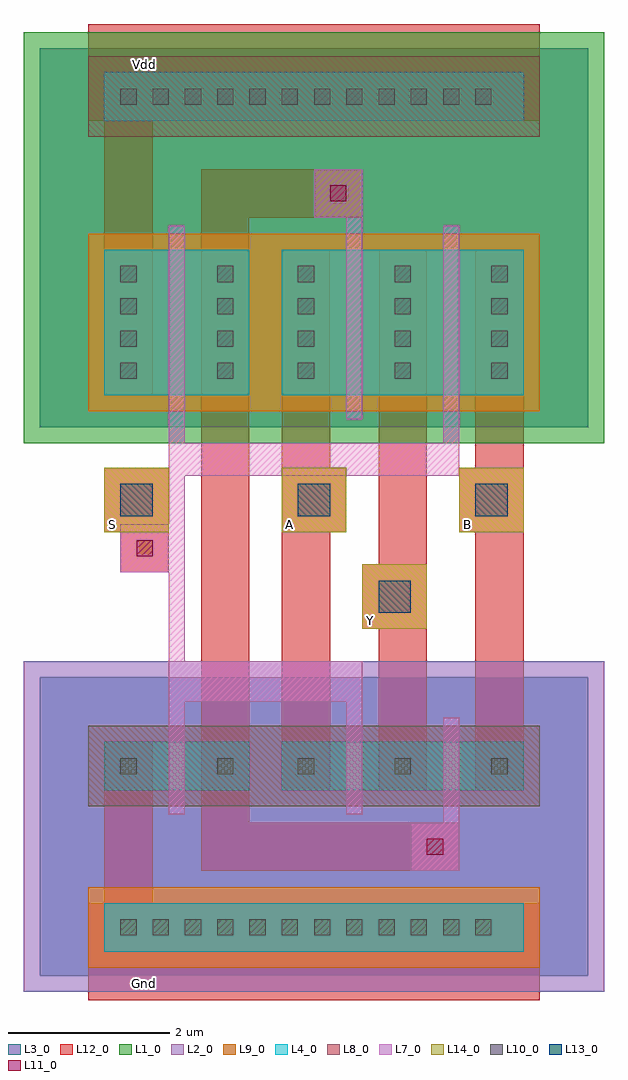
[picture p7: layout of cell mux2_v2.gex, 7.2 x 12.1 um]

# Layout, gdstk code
import gdstk
lib = gdstk.Library(unit=1e-6, precision=1e-09)
def R(c, l, rs):  # rectangles x0, y0, x1, y1
    for r in rs: c.add(gdstk.rectangle(r[:2], r[2:], *l))
def A(c, l, x, y, w, h, nx, ny, dx, dy):  # array of equal rectangles
    R(c, l, [(x+i*dx, y+j*dy, x+i*dx+w, y+j*dy+h) for i in range(nx) for j in range(ny)])
L1_0 = (1, 0)
L2_0 = (2, 0)
L3_0 = (3, 0)
L4_0 = (4, 0)
L7_0 = (7, 0)
L8_0 = (8, 0)
L9_0 = (9, 0)
L10_0 = (10, 0)
L11_0 = (11, 0)
L12_0 = (12, 0)
L13_0 = (13, 0)
L14_0 = (14, 0)

mux2_v2_gex = lib.new_cell('mux2_v2.gex')
R(mux2_v2_gex, L1_0, [(-0.8,6.9,6.4,12)])
R(mux2_v2_gex, L2_0, [(-0.8,0.1,6.4,4.2)])
R(mux2_v2_gex, L3_0, [(-0.6,0.3,6.2,4), (-0.6,7.1,6.2,11.8)])
R(mux2_v2_gex, L4_0, [(0.2,0.6,5.4,1.2), (0.2,2.6,2,3.2), (2.4,2.6,5.4,3.2), (0.2,7.5,2,9.3), (2.4,7.5,5.4,9.3), (0.2,10.9,5.4,11.5)])
R(mux2_v2_gex, L7_0, [(4,1.6,4.6,2.2), (4.4,2.2,4.6,2.4), (1,2.3,1.2,9.6), (3.2,2.3,3.4,3.4), (4.4,2.4,4.6,3.5), (3.2,3.4,3.4,3.7), (1.2,3.7,3.4,4.2), (0.4,5.3,1,5.9), (1.2,6.5,4.6,6.9), (4.4,6.9,4.6,7.3), (3.2,7.2,3.4,9.5), (4.4,7.3,4.6,9.6), (3.2,9.5,3.4,9.7), (2.8,9.7,3.4,10.3)])
R(mux2_v2_gex, L8_0, [(0,2.4,5.6,3.4), (0,10.7,5.6,11.7)])
R(mux2_v2_gex, L9_0, [(0,0.4,5.6,1.4), (0,7.3,5.6,9.5)])
A(mux2_v2_gex, L10_0, 0.4, 0.8, 0.2, 0.2, 12, 2, 0.4, 10.3)
A(mux2_v2_gex, L10_0, 2.6, 2.8, 0.2, 0.2, 3, 2, 1.2, 4.9)
A(mux2_v2_gex, L10_0, 0.4, 7.7, 0.2, 0.2, 1, 4, 0, 0.4)
A(mux2_v2_gex, L10_0, 1.6, 7.7, 0.2, 0.2, 1, 4, 0, 0.4)
A(mux2_v2_gex, L10_0, 2.6, 8.1, 0.2, 0.2, 3, 3, 1.2, 0.4)
R(mux2_v2_gex, L10_0, [(0.4,2.8,0.6,3), (1.6,2.8,1.8,3)])
R(mux2_v2_gex, L11_0, [(4.2,1.8,4.4,2), (0.6,5.5,0.8,5.7), (3,9.9,3.2,10.1)])
A(mux2_v2_gex, L12_0, 2.4, 2.6, 0.6, 6.7, 3, 1, 1.2, 0)
A(mux2_v2_gex, L12_0, 0.2, 5.8, 0.8, 0.8, 3, 1, 2.2, 0)
R(mux2_v2_gex, L12_0, [(0,0,5.6,1.2), (0.2,1.2,0.8,3.2), (1.4,1.6,4,2.2), (4,1.6,4.6,2.2), (1.4,2.2,2,2.6), (1.4,2.6,2,9.3), (3.4,4.6,4.2,5.4), (0.4,5.3,1,5.9), (0.2,7.5,0.8,10.9), (1.4,9.3,2,9.7), (1.4,9.7,2.8,10.3), (2.8,9.7,3.4,10.3), (0,10.9,5.6,12.1)])
A(mux2_v2_gex, L13_0, 0.4, 6, 0.4, 0.4, 3, 1, 2.2, 0)
R(mux2_v2_gex, L13_0, [(3.6,4.8,4,5.2)])
A(mux2_v2_gex, L14_0, 0.2, 5.8, 0.8, 0.8, 3, 1, 2.2, 0)
R(mux2_v2_gex, L14_0, [(3.4,4.6,4.2,5.4)])
mux2_v2_gex.add(gdstk.Label('Vdd', (0.7,11.6), layer=12, texttype=0))
mux2_v2_gex.add(gdstk.Label('Gnd', (0.7,0.2), layer=12, texttype=0))
mux2_v2_gex.add(gdstk.Label('A', (2.5,5.9), layer=12, texttype=0))
mux2_v2_gex.add(gdstk.Label('Y', (3.5,4.7), layer=12, texttype=0))
mux2_v2_gex.add(gdstk.Label('B', (4.7,5.9), layer=12, texttype=0))
mux2_v2_gex.add(gdstk.Label('S', (0.3,5.9), layer=12, texttype=0))

lib.write_gds('mux2_v2.gex.gds')
